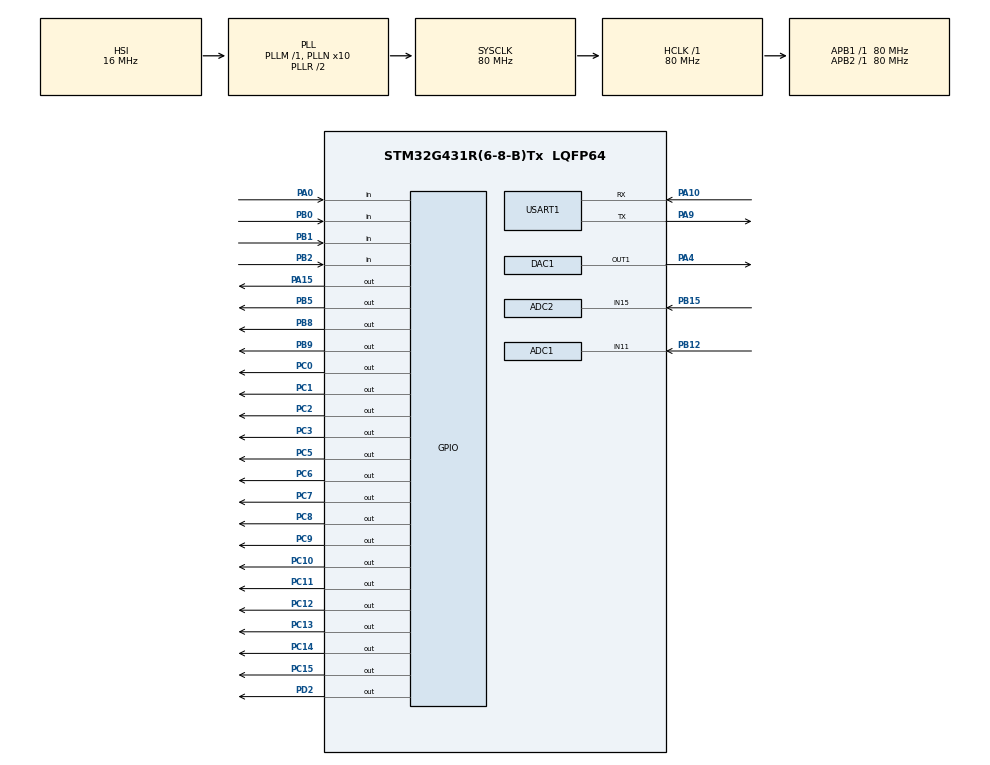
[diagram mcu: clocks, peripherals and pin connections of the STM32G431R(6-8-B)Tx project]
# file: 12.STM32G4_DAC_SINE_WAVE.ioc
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DAC1.DAC_DMADoubleDataMode-DAC_OUT1=ENABLE
PB8-BOOT0.PinState=GPIO_PIN_RESET
PC10.GPIO_PuPd=GPIO_NOPULL
PC12.Signal=GPIO_Output
PB9.GPIO_ModeDefaultOutputPP=GPIO_MODE_OUTPUT_PP
PC0.GPIO_ModeDefaultOutputPP=GPIO_MODE_OUTPUT_PP
PC3.GPIO_Speed=GPIO_SPEED_FREQ_LOW
RCC.SYSCLKSource=RCC_SYSCLKSOURCE_PLLCLK
PC13.GPIO_ModeDefaultOutputPP=GPIO_MODE_OUTPUT_PP
RCC.APB2TimFreq_Value=80000000
Dma.ADC1.0.Direction=DMA_PERIPH_TO_MEMORY
PC7.Signal=GPIO_Output
PC3.Signal=GPIO_Output
PC1.PinState=GPIO_PIN_RESET
ADC2.EOCSelection=ADC_EOC_SEQ_CONV
Dma.ADC1.0.MemDataAlignment=DMA_MDATAALIGN_HALFWORD
Dma.DAC1_CH1.1.Polarity=HAL_DMAMUX_REQ_GEN_RISING
PB2.Signal=GPIO_Input
PC1.GPIO_PuPd=GPIO_NOPULL
RCC.ADC12Freq_Value=80000000
Dma.ADC1.0.PeriphInc=DMA_PINC_DISABLE
PC11.GPIO_Speed=GPIO_SPEED_FREQ_LOW
PC15-OSC32_OUT.PinState=GPIO_PIN_SET
PC10.PinState=GPIO_PIN_SET
PB2.GPIO_PuPd=GPIO_NOPULL
ADC1.SamplingTime-0\#ChannelRegularConversion=ADC_SAMPLETIME_2CYCLES_5
PA0.Signal=GPIO_Input
PC14-OSC32_IN.GPIO_Speed=GPIO_SPEED_FREQ_LOW
PC10.GPIO_ModeDefaultOutputPP=GPIO_MODE_OUTPUT_PP
Mcu.Package=LQFP64
PB9.Signal=GPIO_Output
PB1.Signal=GPIO_Input
TIM6.PeriodNoDither=500
PA10.Signal=USART1_RX
PB9.GPIO_PuPd=GPIO_NOPULL
PC6.GPIO_PuPd=GPIO_NOPULL
PB5.GPIO_Speed=GPIO_SPEED_FREQ_LOW
RCC.APB1TimFreq_Value=80000000
Dma.DAC1_CH1.1.MemInc=DMA_MINC_ENABLE
PC12.GPIO_PuPd=GPIO_NOPULL
PC6.GPIO_Speed=GPIO_SPEED_FREQ_LOW
ADC1.EOCSelection=ADC_EOC_SINGLE_CONV
PC0.PinState=GPIO_PIN_RESET
DAC1.WaveGeneration_OUT1-DAC_OUT1=DISABLE
PF1-OSC_OUT.Signal=RCC_OSC_OUT
Dma.ADC1.0.EventEnable=DISABLE
RCC.HSI48_VALUE=48000000
PC6.GPIO_ModeDefaultOutputPP=GPIO_MODE_OUTPUT_PP
PB5.GPIO_ModeDefaultOutputPP=GPIO_MODE_OUTPUT_PP
PC7.GPIO_ModeDefaultOutputPP=GPIO_MODE_OUTPUT_PP
Dma.ADC1.0.Instance=DMA1_Channel1
ADC1.Rank-0\#ChannelRegularConversion=1
PD2.GPIO_PuPd=GPIO_NOPULL
Dma.ADC1.0.SyncRequestNumber=1
ADC1.OffsetNumber-0\#ChannelRegularConversion=ADC_OFFSET_NONE
PC13.Signal=GPIO_Output
PC6.Signal=GPIO_Output
PC2.Signal=GPIO_Output
PC9.PinState=GPIO_PIN_SET
PA0.GPIO_Mode=GPIO_MODE_INPUT
PC12.GPIO_ModeDefaultOutputPP=GPIO_MODE_OUTPUT_PP
PC0.Signal=GPIO_Output
PC14-OSC32_IN.Signal=GPIO_Output
Dma.DAC1_CH1.1.Priority=DMA_PRIORITY_LOW
ADC2.ContinuousConvMode=ENABLE
PC12.PinState=GPIO_PIN_SET
SH.COMP_DAC11_group.0=DAC1_OUT1,DAC_OUT1
Dma.ADC1.0.SignalID=NONE
Dma.ADC1.0.Priority=DMA_PRIORITY_LOW
PB1.GPIO_Mode=GPIO_MODE_INPUT
PA9.Signal=USART1_TX
PC7.GPIO_PuPd=GPIO_NOPULL
PC6.PinState=GPIO_PIN_RESET
ADC2.OffsetNumber-0\#ChannelRegularConversion=ADC_OFFSET_NONE
PB8-BOOT0.Signal=GPIO_Output
PB2.GPIO_Mode=GPIO_MODE_INPUT
Dma.DAC1_CH1.1.Direction=DMA_MEMORY_TO_PERIPH
PC9.GPIO_PuPd=GPIO_NOPULL
PC1.GPIO_Speed=GPIO_SPEED_FREQ_LOW
PC15-OSC32_OUT.GPIO_PuPd=GPIO_NOPULL
PC11.GPIO_ModeDefaultOutputPP=GPIO_MODE_OUTPUT_PP
ADC1.DMAContinuousRequests=ENABLE
PA13.Mode=Serial_Wire
PA4.Signal=COMP_DAC11_group
PB5.Signal=GPIO_Output
Dma.DAC1_CH1.1.PeriphDataAlignment=DMA_PDATAALIGN_WORD
ADC1.master=1
ADC2.NbrOfConversionFlag=1
PB5.GPIO_PuPd=GPIO_NOPULL
PB9.PinState=GPIO_PIN_RESET
Dma.ADC1.0.RequestNumber=1
ProjectManager.HeapSize=0x200
VP_TIM4_VS_ClockSourceINT.Mode=Internal
PC9.GPIO_Speed=GPIO_SPEED_FREQ_LOW
NVIC.PriorityGroup=NVIC_PRIORITYGROUP_4
PC5.GPIO_Speed=GPIO_SPEED_FREQ_LOW
PC14-OSC32_IN.GPIO_PuPd=GPIO_NOPULL
NVIC.DMA1_Channel1_IRQn=true\:0\:0\:false\:false\:true\:false\:true
PF0-OSC_IN.Signal=RCC_OSC_IN
PC3.GPIO_ModeDefaultOutputPP=GPIO_MODE_OUTPUT_PP
PD2.Signal=GPIO_Output
PB0.Signal=GPIO_Input
PC1.Signal=GPIO_Output
Mcu.Family=STM32G4
Dma.DAC1_CH1.1.SyncPolarity=HAL_DMAMUX_SYNC_NO_EVENT
RCC.CortexFreq_Value=80000000
PD2.GPIO_ModeDefaultOutputPP=GPIO_MODE_OUTPUT_PP
ADC1.ContinuousConvMode=ENABLE
ADC2.Channel-0\#ChannelRegularConversion=ADC_CHANNEL_15
Dma.ADC1.0.Polarity=HAL_DMAMUX_REQ_GEN_RISING
PC10.Signal=GPIO_Output
DAC1.DAC_Trigger_OUT1-DAC_OUT1=DAC_TRIGGER_T6_TRGO
PD2.GPIO_Speed=GPIO_SPEED_FREQ_LOW
PC10.GPIO_Speed=GPIO_SPEED_FREQ_LOW
PC2.GPIO_Speed=GPIO_SPEED_FREQ_LOW
Dma.DAC1_CH1.1.MemDataAlignment=DMA_MDATAALIGN_WORD
PB15.Signal=ADC2_IN15
ProjectManager.StackSize=0x400
PC3.PinState=GPIO_PIN_RESET
PC8.PinState=GPIO_PIN_RESET
PB8-BOOT0.GPIO_ModeDefaultOutputPP=GPIO_MODE_OUTPUT_PP
PC11.GPIO_PuPd=GPIO_NOPULL
PB1.GPIO_PuPd=GPIO_NOPULL
RCC.HCLKFreq_Value=80000000
PB5.PinState=GPIO_PIN_RESET
RCC.AHBFreq_Value=80000000
ADC1.Channel-0\#ChannelRegularConversion=ADC_CHANNEL_11
RCC.HSE_VALUE=24000000
PA14.Mode=Serial_Wire
PC13.GPIO_PuPd=GPIO_NOPULL
PC7.PinState=GPIO_PIN_RESET
VP_SYS_VS_DBSignals.Mode=DisableDeadBatterySignals
Dma.DAC1_CH1.1.EventEnable=DISABLE
Dma.DAC1_CH1.1.SyncEnable=DISABLE
Dma.DAC1_CH1.1.Mode=DMA_CIRCULAR
PB12.Mode=IN11-Single-Ended
PC14-OSC32_IN.PinState=GPIO_PIN_SET
PB0.GPIO_Mode=GPIO_MODE_INPUT
PA15.Signal=GPIO_Output
ADC2.SamplingTime-0\#ChannelRegularConversion=ADC_SAMPLETIME_2CYCLES_5
PB8-BOOT0.GPIO_Speed=GPIO_SPEED_FREQ_LOW
PB9.GPIO_Speed=GPIO_SPEED_FREQ_LOW
PC15-OSC32_OUT.GPIO_ModeDefaultOutputPP=GPIO_MODE_OUTPUT_PP
PC2.GPIO_ModeDefaultOutputPP=GPIO_MODE_OUTPUT_PP
Dma.Request1=DAC1_CH1
PC14-OSC32_IN.GPIO_ModeDefaultOutputPP=GPIO_MODE_OUTPUT_PP
PC13.GPIO_Speed=GPIO_SPEED_FREQ_LOW
PC5.Signal=GPIO_Output
PC15-OSC32_OUT.GPIO_Speed=GPIO_SPEED_FREQ_LOW
Dma.DAC1_CH1.1.SignalID=NONE
ADC2.Rank-0\#ChannelRegularConversion=1
PC0.GPIO_PuPd=GPIO_NOPULL
PF1-OSC_OUT.Mode=HSE-External-Oscillator
Dma.Request0=ADC1
PC13.PinState=GPIO_PIN_SET
TIM4.AutoReloadPreload=TIM_AUTORELOAD_PRELOAD_ENABLE
Dma.DAC1_CH1.1.PeriphInc=DMA_PINC_DISABLE
PB8-BOOT0.GPIO_PuPd=GPIO_NOPULL
PA10.Mode=Asynchronous
PC11.Signal=GPIO_Output
TIM4.PeriodNoDither=1000 - 1
PC8.Signal=GPIO_Output
TIM6.Prescaler=80 - 1
VP_TIM6_VS_ClockSourceINT.Mode=Enable_Timer
RCC.EXTERNAL_CLOCK_VALUE=12288000
PC5.GPIO_PuPd=GPIO_NOPULL
Dma.DAC1_CH1.1.Instance=DMA1_Channel2
Dma.DAC1_CH1.1.SyncRequestNumber=1
USART1.VirtualMode-Asynchronous=VM_ASYNC
PA13.Signal=SYS_JTMS-SWDIO
TIM6.AutoReloadPreload=TIM_AUTORELOAD_PRELOAD_ENABLE
Dma.ADC1.0.PeriphDataAlignment=DMA_PDATAALIGN_HALFWORD
PA9.Mode=Asynchronous
PC0.GPIO_Speed=GPIO_SPEED_FREQ_LOW
NVIC.DMA1_Channel2_IRQn=true\:0\:0\:false\:false\:true\:false\:true
ProjectManager.TargetToolchain=MDK-ARM V5.27
Dma.ADC1.0.Mode=DMA_CIRCULAR
Dma.ADC1.0.SyncSignalID=NONE
RCC.USBFreq_Value=80000000
TIM4.Prescaler=80 - 1
RCC.LSE_VALUE=32768
PC15-OSC32_OUT.Signal=GPIO_Output
Dma.DAC1_CH1.1.SyncSignalID=NONE
PF0-OSC_IN.Mode=HSE-External-Oscillator
PD2.PinState=GPIO_PIN_RESET
board=custom
PC7.GPIO_Speed=GPIO_SPEED_FREQ_LOW
RCC.VCOOutputFreq_Value=160000000
PB15.Mode=IN15-Single-Ended
Dma.ADC1.0.SyncPolarity=HAL_DMAMUX_SYNC_NO_EVENT
PA15.PinState=GPIO_PIN_RESET
RCC.APB2Freq_Value=80000000
PC11.PinState=GPIO_PIN_SET
PC9.GPIO_ModeDefaultOutputPP=GPIO_MODE_OUTPUT_PP
TIM6.TIM_MasterOutputTrigger=TIM_TRGO_UPDATE
PC2.GPIO_PuPd=GPIO_NOPULL
Mcu.Name=STM32G431R(6-8-B)Tx
DAC1.DAC_UserTrimming-DAC_OUT1=DAC_TRIMMING_FACTORY
RCC.SYSCLKFreq_VALUE=80000000
PC2.PinState=GPIO_PIN_RESET
PC5.PinState=GPIO_PIN_RESET
DAC1.DAC_OutputBuffer-DAC_OUT1=DAC_OUTPUTBUFFER_DISABLE
Dma.ADC1.0.SyncEnable=DISABLE
PA14.Signal=SYS_JTCK-SWCLK
Dma.ADC1.0.MemInc=DMA_MINC_ENABLE
RCC.HSI_VALUE=16000000
Dma.DAC1_CH1.1.RequestNumber=1
PC1.GPIO_ModeDefaultOutputPP=GPIO_MODE_OUTPUT_PP
ADC1.NbrOfConversionFlag=1
RCC.PLLN=10
PC9.Signal=GPIO_Output
NVIC.TIM4_IRQn=true\:0\:0\:false\:false\:true\:true\:true
RCC.APB1Freq_Value=80000000
PC12.GPIO_Speed=GPIO_SPEED_FREQ_LOW
PC5.GPIO_ModeDefaultOutputPP=GPIO_MODE_OUTPUT_PP
PB12.Signal=ADC1_IN11
PB0.GPIO_PuPd=GPIO_NOPULL
PC3.GPIO_PuPd=GPIO_NOPULL

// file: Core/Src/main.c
/* USER CODE BEGIN Header */
/**
  ******************************************************************************
  * @file           : main.c
  * @brief          : Main program body
  ******************************************************************************
  * @attention
  *
  * <h2><center>&copy; Copyright (c) 2021 STMicroelectronics.
  * All rights reserved.</center></h2>
  *
  * This software component is licensed by ST under BSD 3-Clause license,
  * the "License"; You may not use this file except in compliance with the
  * License. You may obtain a copy of the License at:
  *                        opensource.org/licenses/BSD-3-Clause
  *
  ******************************************************************************
  */
/* USER CODE END Header */
#include "main.h"
#include "adc.h"
#include "dac.h"
#include "dma.h"
#include "tim.h"
#include "usart.h"
#include "gpio.h"

/* USER CODE BEGIN Includes */
#include "led.h"
#include "key.h"
#include "lcd.h"
#include "string.h"
#include "stdio.h"
#include "math.h"
/* USER CODE END Includes */

/* USER CODE BEGIN PV */
uint16_t led_tick = 0;
_Bool led_flag = 0;
uint8_t key_tick = 0;

uint16_t ADC1_Value;
uint16_t ADC2_Value;

uint8_t lcd_str[20];

uint32_t Sine12bit[32] = {
	2048	, 2460	, 2856	, 3218	, 3532	, 3786	, 3969	, 4072	,
	4093	, 4031	, 3887	, 3668	, 3382	, 3042	,2661	, 2255	,
	1841	, 1435	, 1054	, 714	, 428	, 209	, 65	, 3		,
	24		, 127	, 310	, 564	, 878	, 1240	, 1636	, 2048
};
uint16_t DualSine12bit[100];

/* USER CODE END PV */

void SystemClock_Config(void);
/* USER CODE BEGIN PFP */
void led_proc(void);
void adc_proc(void);
void key_scan(void);
void lcd_proc(void);
void dac_proc(void);
void usart_proc(void);
void SineWave_Data( u16 num,u16 *D,float U);
/* USER CODE END PFP */

int main(void)
{
  /* USER CODE BEGIN 1 */
//	uint32_t Idx;        //定义变量
  /* USER CODE END 1 */

  /* MCU Configuration--------------------------------------------------------*/

  /* Reset of all peripherals, Initializes the Flash interface and the Systick. */
  HAL_Init();

  /* Configure the system clock */
  SystemClock_Config();

  /* Initialize all configured peripherals */
  MX_GPIO_Init();
  MX_DMA_Init();
  MX_TIM4_Init();
  MX_ADC1_Init();
  MX_ADC2_Init();
  MX_DAC1_Init();
  MX_TIM6_Init();
  MX_USART1_UART_Init();
  /* USER CODE BEGIN 2 */

	led_init();
	LCD_Init();

	/*使能定时器4中断*/
	HAL_TIM_Base_Start_IT(&htim4);

//	for (Idx = 0; Idx <100; Idx++)
//	{
//		DualSine12bit[Idx] = (Sine12bit[Idx] << 16)+ (Sine12bit[Idx]);
//	}
	HAL_TIM_Base_Start(&htim6);
	// 在配置DAC的DMA的时候，必须将数据类型配置为32位
  HAL_DAC_Start_DMA(&hdac1, DAC_CHANNEL_1, (uint32_t *)Sine12bit, 32, DAC_ALIGN_12B_R);
//	HAL_DAC_Start_DMA(&hdac1,DAC_CHANNEL_1,(uint32_t *)DualSine12bit,100,DAC_ALIGN_12B_R);

	HAL_ADCEx_Calibration_Start(&hadc1,ADC_SINGLE_ENDED);    //ADC1校准
	HAL_ADCEx_Calibration_Start(&hadc2,ADC_SINGLE_ENDED);    //ADC2校准
	/*ADC DMA的CIRCULAR模式，须将MX_DMA_Init()函数中的中断注释掉，否则程序会阻塞*/
	HAL_ADC_Start_DMA(&hadc1, (uint32_t*)&ADC1_Value, 1);

	LCD_Clear(Blue);
	LCD_SetBackColor(Blue);
	LCD_SetTextColor(White);

	LCD_DisplayStringLine(Line0, (uint8_t *)"                    ");
	LCD_DisplayStringLine(Line1, (uint8_t *)"                    ");
	LCD_DisplayStringLine(Line2, (uint8_t *)"      LCD Test      ");
	LCD_DisplayStringLine(Line3, (uint8_t *)"                    ");
	LCD_DisplayStringLine(Line4, (uint8_t *)"                    ");

	LCD_SetBackColor(White);
	LCD_SetTextColor(Blue);

	LCD_DisplayStringLine(Line5, (uint8_t *)"                    ");
	LCD_DisplayStringLine(Line6, (uint8_t *)"       HAL LIB      ");
	LCD_DisplayStringLine(Line7, (uint8_t *)"                    ");
	LCD_DisplayStringLine(Line8, (uint8_t *)"         @80        ");
	LCD_DisplayStringLine(Line9, (uint8_t *)"                    ");

  /* USER CODE END 2 */

  /* Infinite loop */
  while (1)
  {

    /* USER CODE BEGIN 3 */
		led_proc();
		adc_proc();
		lcd_proc();
		dac_proc();
		usart_proc();
  }
  /* USER CODE END 3 */
}

void SystemClock_Config(void)
{
  RCC_OscInitTypeDef RCC_OscInitStruct = {0};
  RCC_ClkInitTypeDef RCC_ClkInitStruct = {0};
  RCC_PeriphCLKInitTypeDef PeriphClkInit = {0};

  /** Configure the main internal regulator output voltage
  */
  HAL_PWREx_ControlVoltageScaling(PWR_REGULATOR_VOLTAGE_SCALE1);
  /** Initializes the RCC Oscillators according to the specified parameters
  * in the RCC_OscInitTypeDef structure.
  */
  RCC_OscInitStruct.OscillatorType = RCC_OSCILLATORTYPE_HSI;
  RCC_OscInitStruct.HSIState = RCC_HSI_ON;
  RCC_OscInitStruct.HSICalibrationValue = RCC_HSICALIBRATION_DEFAULT;
  RCC_OscInitStruct.PLL.PLLState = RCC_PLL_ON;
  RCC_OscInitStruct.PLL.PLLSource = RCC_PLLSOURCE_HSI;
  RCC_OscInitStruct.PLL.PLLM = RCC_PLLM_DIV1;
  RCC_OscInitStruct.PLL.PLLN = 10;
  RCC_OscInitStruct.PLL.PLLP = RCC_PLLP_DIV2;
  RCC_OscInitStruct.PLL.PLLQ = RCC_PLLQ_DIV2;
  RCC_OscInitStruct.PLL.PLLR = RCC_PLLR_DIV2;
  if (HAL_RCC_OscConfig(&RCC_OscInitStruct) != HAL_OK)
  {
    Error_Handler();
  }
  /** Initializes the CPU, AHB and APB buses clocks
  */
  RCC_ClkInitStruct.ClockType = RCC_CLOCKTYPE_HCLK|RCC_CLOCKTYPE_SYSCLK
                              |RCC_CLOCKTYPE_PCLK1|RCC_CLOCKTYPE_PCLK2;
  RCC_ClkInitStruct.SYSCLKSource = RCC_SYSCLKSOURCE_PLLCLK;
  RCC_ClkInitStruct.AHBCLKDivider = RCC_SYSCLK_DIV1;
  RCC_ClkInitStruct.APB1CLKDivider = RCC_HCLK_DIV1;
  RCC_ClkInitStruct.APB2CLKDivider = RCC_HCLK_DIV1;

  if (HAL_RCC_ClockConfig(&RCC_ClkInitStruct, FLASH_LATENCY_2) != HAL_OK)
  {
    Error_Handler();
  }
  /** Initializes the peripherals clocks
  */
  PeriphClkInit.PeriphClockSelection = RCC_PERIPHCLK_USART1|RCC_PERIPHCLK_ADC12;
  PeriphClkInit.Usart1ClockSelection = RCC_USART1CLKSOURCE_PCLK2;
  PeriphClkInit.Adc12ClockSelection = RCC_ADC12CLKSOURCE_SYSCLK;
  if (HAL_RCCEx_PeriphCLKConfig(&PeriphClkInit) != HAL_OK)
  {
    Error_Handler();
  }
}

/* USER CODE BEGIN 4 */
void HAL_TIM_PeriodElapsedCallback(TIM_HandleTypeDef *htim)
{
	if(htim == (&htim4))
	{
		if(++led_tick == 500)
		{
			led_tick = 0;
			led_flag = 1;
		}
		if(++key_tick == 10)
		{
			key_tick = 0;
			key_scan();
		}
	}
}

void led_proc(void)
{
	if(led_flag)
	{
		led_flag = 0;
		led_toggle(LD8);
	}
}

void adc_proc(void)
{
//	HAL_ADC_Start(&hadc1);																											//启动ADC装换
//	HAL_ADC_PollForConversion(&hadc1, 50);																			//等待转换完成， 第二个参数表示超时时间，单位ms.
//	if(HAL_IS_BIT_SET(HAL_ADC_GetState(&hadc1), HAL_ADC_STATE_REG_EOC)){
//		ADC1_Value = HAL_ADC_GetValue(&hadc1);																		//读取ADC转换数据， 数据为12位
//	}
//	HAL_ADC_Stop(&hadc1);

//	HAL_ADC_Start_DMA(&hadc1, (uint32_t*)&ADC1_Value, 1);
//	HAL_ADC_Stop_DMA(&hadc1);

	HAL_ADC_Start(&hadc2);																											//启动ADC装换
	HAL_ADC_PollForConversion(&hadc2, 50);																			//等待转换完成， 第二个参数表示超时时间，单位ms.
	if(HAL_IS_BIT_SET(HAL_ADC_GetState(&hadc2), HAL_ADC_STATE_REG_EOC)){
		ADC2_Value = HAL_ADC_GetValue(&hadc2);																		//读取ADC转换数据， 数据为12位
	}
	HAL_ADC_Stop(&hadc2);
}

void lcd_proc(void)
{
	memset(lcd_str,0,sizeof(lcd_str));
	sprintf((char*)lcd_str,"       ADC1: %.2f   ",ADC1_Value / 4095.0 * 3.3 + 0.005);
//	sprintf((char*)lcd_str,"       ADC: %d   ",ADC_Value);
	LCD_DisplayStringLine(Line6,lcd_str);

	memset(lcd_str,0,sizeof(lcd_str));
	sprintf((char*)lcd_str,"       ADC2: %.2f   ",ADC2_Value / 4095.0 * 3.3 + 0.005);
//	sprintf((char*)lcd_str,"       ADC: %d   ",ADC_Value);
	LCD_DisplayStringLine(Line8,lcd_str);
}

void dac_proc(void)
{
//	HAL_DAC_SetValue(&hdac1, DAC_CHANNEL_1, DAC_ALIGN_12B_R, ADC1_Value);
}

void usart_proc(void)
{
//	printf("HELLO WORLD!!! \r\n");
//	HAL_Delay(1000);
	printf("%.2f\r\n",ADC1_Value / 4095.0 * 3.3 + 0.005);
}

void key_scan(void)
{
	key_refresh();	// 刷新一次按键的状态信息
	if(key_falling == B1)
	{
		led_toggle(LD1);
	}
	else if(key_falling == B2)
	{
		led_toggle(LD2);
	}
	else if(key_falling == B3)
	{
		led_toggle(LD3);
	}
	else if(key_falling == B4)
	{
		led_toggle(LD4);
	}
}

/**
  * 函数功能: 重定向c库函数printf到DEBUG_USARTx
  * 输入参数: 无
  * 返 回 值: 无
  * 说    明：无
  */
int fputc(int ch, FILE *f)
{
  HAL_UART_Transmit(&huart1, (uint8_t *)&ch, 1, 0xffff);
  return ch;
}
/* USER CODE END 4 */

void Error_Handler(void)
{
  __disable_irq();
  while (1)
  {
  }
}

/************************ (C) COPYRIGHT STMicroelectronics *****END OF FILE****/
